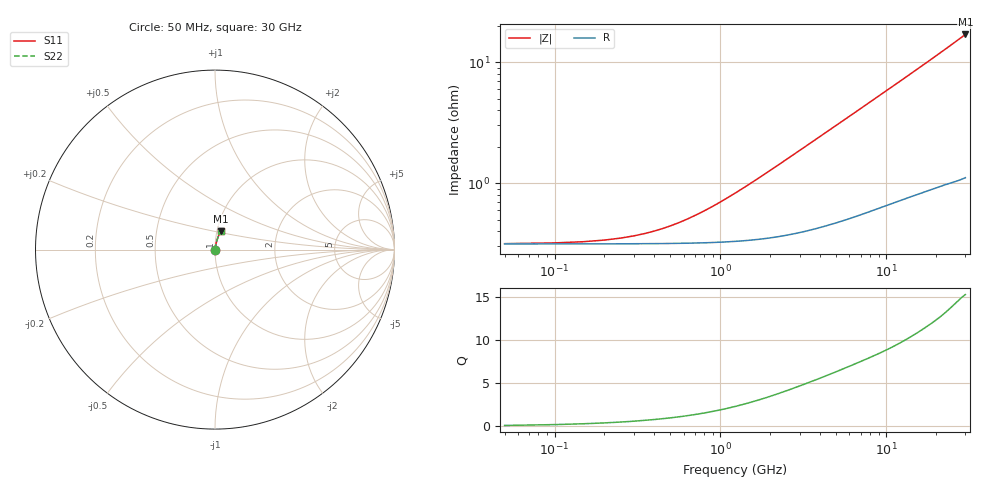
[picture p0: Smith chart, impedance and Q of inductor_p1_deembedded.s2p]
! openEMS extraction of the IHP SG13G2 inductor PCell, geometry p1
! port parasitic de-embedded by cascading a negative series L per port
! L_port = [3.748 3.748] pH (Terman flat-ribbon, from port_information.json)
# Hz S RI R 50
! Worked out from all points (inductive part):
!   600 points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, 50 MHz to 30 GHz, reference 50 ohm
!   read as 1/Y11, port 2 shorted: L = 97.1 pH near 1.7 GHz
!   highest Q = 15.3 at 30 GHz (marker M1), where L = 89.8 pH
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5e7  0.00272 0.000174  0.9964 -0.000442  0.9965 -0.000443  0.00271 0.000175
2e8  0.00272 0.000696  0.9964 -0.00177  0.9964 -0.00177  0.00271 0.000698
4e8  0.00271 0.00139  0.9964 -0.00353  0.9964 -0.00354  0.00269 0.0014
6.5e8  0.00268 0.00227  0.9963 -0.00573  0.9963 -0.00574  0.00267 0.00228
1.25e9  0.00258 0.00443  0.9959 -0.0109  0.9959 -0.0109  0.00257 0.00445
1.6e9  0.00251 0.00574  0.9955 -0.0138  0.9955 -0.0138  0.00251 0.00575
2.05e9  0.00245 0.00746  0.9951 -0.0175  0.9951 -0.0175  0.00245 0.00747
2.55e9  0.00242 0.00943  0.9945 -0.0214  0.9945 -0.0214  0.00243 0.00944
3.1e9  0.00247 0.0116  0.9939 -0.0256  0.9939 -0.0256  0.00248 0.0116
3.7e9  0.00264 0.0141  0.9933 -0.0301  0.9933 -0.0301  0.00264 0.014
4.35e9  0.00292 0.0166  0.9928 -0.0349  0.9928 -0.0349  0.00293 0.0166
5.05e9  0.00334 0.0194  0.9922 -0.04  0.9922 -0.04  0.00333 0.0194
6.05e9  0.00402 0.0231  0.9914 -0.0474  0.9914 -0.0474  0.00401 0.0231
7.2e9  0.00485 0.0273  0.9904 -0.0558  0.9904 -0.0558  0.00485 0.0273
8.55e9  0.00586 0.0321  0.9891 -0.0657  0.9891 -0.0657  0.00587 0.0321
1.005e10  0.00706 0.0374  0.9876 -0.0765  0.9876 -0.0765  0.00706 0.0374
1.235e10  0.00911 0.0453  0.9851 -0.093  0.9851 -0.093  0.0091 0.0453
1.505e10  0.0117 0.0543  0.9819 -0.1123  0.9819 -0.1123  0.0117 0.0543
1.745e10  0.0143 0.0623  0.9787 -0.1293  0.9787 -0.1293  0.0143 0.0623
2.005e10  0.0173 0.0708  0.975 -0.1476  0.975 -0.1476  0.0173 0.0708
2.505e10  0.0239 0.0868  0.9668 -0.1827  0.9668 -0.1827  0.0238 0.0868
3e10  0.0314 0.1023  0.957 -0.217  0.9571 -0.217  0.0314 0.1023
